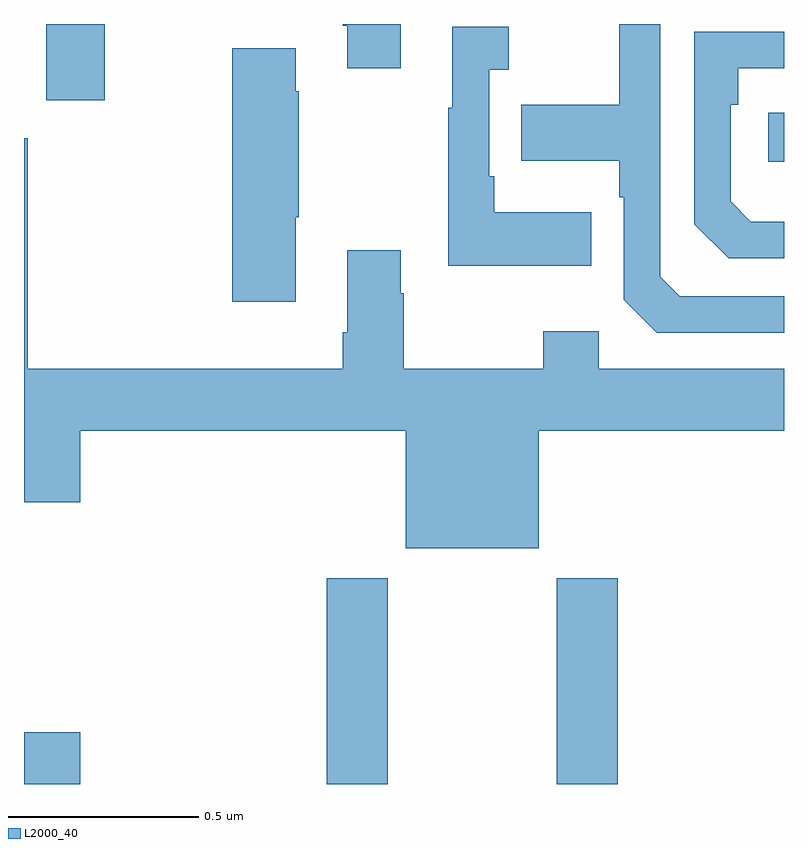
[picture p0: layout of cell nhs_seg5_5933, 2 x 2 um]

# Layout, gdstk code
import gdstk
lib = gdstk.Library(unit=1e-6, precision=1e-09)
def R(c, l, rs):  # rectangles x0, y0, x1, y1
    for r in rs: c.add(gdstk.rectangle(r[:2], r[2:], *l))
def P(c, l, *ps):  # polygons
    for p in ps: c.add(gdstk.Polygon(p, *l))
L2000_40 = (2000, 40)

nhs_seg5_5933 = lib.new_cell('nhs_seg5_5933')
R(nhs_seg5_5933, L2000_40, [(189,887.799,189.148,887.935), (189.797,887.799,189.957,888.34), (190.402,887.799,190.562,888.34), (190.959,889.436,191,889.566), (189.058,889.599,189.213,889.799)])
P(nhs_seg5_5933, L2000_40, [(189.991,889.799),(189.839,889.799),(189.839,889.795),(189.851,889.795),(189.851,889.683),(189.991,889.683)],
  [(191,889.083),(190.725,889.083),(190.674,889.134),(190.674,889.799),(190.566,889.799),(190.566,889.587),(190.309,889.587),(190.309,889.439),(190.566,889.439),(190.566,889.343),(190.578,889.343),(190.578,889.074),(190.665,888.987),(191,888.987)],
  [(190.493,889.303),(190.237,889.303),(190.237,889.399),(190.224,889.399),(190.224,889.679),(190.276,889.679),(190.276,889.792),(190.127,889.792),(190.127,889.579),(190.116,889.579),(190.116,889.163),(190.493,889.163)],
  [(191,889.279),(190.913,889.279),(190.86,889.332),(190.86,889.586),(190.88,889.586),(190.88,889.683),(191,889.683),(191,889.779),(190.764,889.779),(190.764,889.272),(190.854,889.182),(191,889.182)],
  [(189.715,889.291),(189.723,889.291),(189.723,889.622),(189.715,889.622),(189.715,889.735),(189.548,889.735),(189.548,889.068),(189.715,889.068)],
  [(190.354,888.728),(191,888.728),(191,888.892),(190.512,888.892),(190.512,888.991),(190.366,888.991),(190.366,888.892),(189.999,888.892),(189.999,889.091),(189.991,889.091),(189.991,889.204),(189.851,889.204),(189.851,888.988),(189.839,888.988),(189.839,888.892),(189.01,888.892),(189.01,889.498),(189,889.498),(189,888.54),(189.148,888.54),(189.148,888.728),(190.004,888.728),(190.004,888.419),(190.354,888.419)])

lib.write_gds('nhs_seg5_5933.gds')
